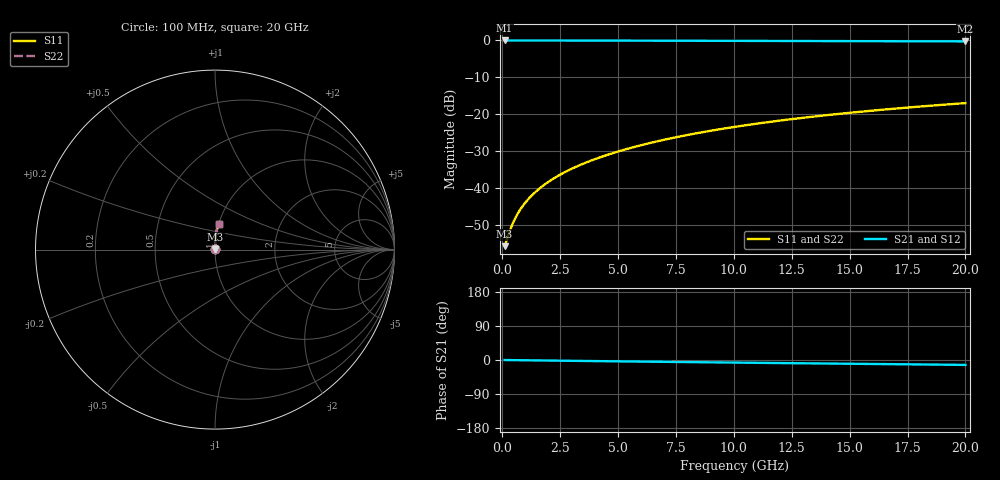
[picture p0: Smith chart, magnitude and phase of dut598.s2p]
! Touchstone file exported from HFSS 2024.1.0
!  File:  C:/UserFiles/LocalFiles/RDL_TSV_Batchsim/temp_RDL_top_598_1779682774.aedt
!  Generated:  12:22:04 PM May 25, 2026
!  Design:  RDL_top
!  Project:  temp_RDL_top_598_1779682774
!  Setup:  Setup1
!  Solution:  Sweep
! Variables:
!  dtsv = 10.80580581um
!  hbump = 3um
!  htsv = 54.87um
!  ldown = 100um
!  lrdl = 155.72um
!  p = 40
!  p1 = 44.81um
!  rhole = 1um
!  t = 450um
!  tdown = 3.915915916um
!  trdl = 2.16um
!  wdown = 15.38538539um
!  wrdl = 23.13um
# GHz S MA R 50.000000
! Terminal data exported
! Port[1] = Box2_T1
! Port[2] = Box2_T2
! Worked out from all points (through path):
!   200 points, 100 MHz to 20 GHz, reference 50 ohm
!   highest |S21| = -0.01 dB at 100 MHz (marker M1); lowest = -0.3 dB at 20 GHz (marker M2)
!   group delay of S21, straight-line fit = 1.78 ps
!   lowest |S11| = -55.6 dB at 100 MHz (marker M3), VSWR 1.00, Z = 50.2 + j0.0674 ohm
!   |S11| at or under -10 dB: start of sweep to end of sweep
!   |S22| runs from -55.6 to -16.9 dB; largest |S21 - S12| = 3.3e-15
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0.1  0.001659 23.9  0.9985 -0.1  0.9985 -0.1  0.001659 23.9
! Gamma 0 0 0 0
! Port Impedance 50 0 50 0
0.3  0.002539 51.3  0.9984 -0.2  0.9984 -0.2  0.002539 51.3
0.4  0.003079 58.0  0.9983 -0.3  0.9983 -0.3  0.003079 58.0
0.6  0.004196 66.0  0.9982 -0.5  0.9982 -0.5  0.004196 66.0
0.7  0.004759 68.6  0.9981 -0.5  0.9981 -0.5  0.004759 68.6
0.9  0.00589 72.6  0.998 -0.7  0.998 -0.7  0.00589 72.6
1.2  0.007605 76.5  0.9978 -0.9  0.9978 -0.9  0.007605 76.5
1.4  0.008764 78.5  0.9977 -1.0  0.9977 -1.0  0.008764 78.5
1.7  0.01052 80.7  0.9974 -1.3  0.9974 -1.3  0.01052 80.7
2.2  0.01352 83.3  0.997 -1.6  0.997 -1.6  0.01352 83.3
2.8  0.0172 85.4  0.9965 -2.0  0.9965 -2.0  0.0172 85.4
3.5  0.02162 87.0  0.9957 -2.5  0.9957 -2.5  0.02162 87.0
4.2  0.02618 88.1  0.9947 -3.0  0.9947 -3.0  0.02618 88.1
5  0.03153 88.9  0.9936 -3.6  0.9936 -3.6  0.03153 88.9
5.9  0.03773 89.3  0.9922 -4.2  0.9922 -4.2  0.03773 89.3
6.8  0.0441 89.5  0.9908 -4.8  0.9908 -4.8  0.0441 89.5
8.4  0.05572 89.2  0.9882 -5.8  0.9882 -5.8  0.05572 89.2
10.1  0.06835 88.5  0.9855 -6.9  0.9855 -6.9  0.06835 88.5
11.7  0.08037 87.6  0.9829 -7.9  0.9829 -7.9  0.08037 87.6
13.4  0.09316 86.4  0.9803 -8.9  0.9803 -8.9  0.09316 86.4
16.7  0.1179 84.0  0.9752 -10.9  0.9752 -10.9  0.1179 84.0
20  0.1422 81.6  0.97 -12.9  0.97 -12.9  0.1422 81.6
